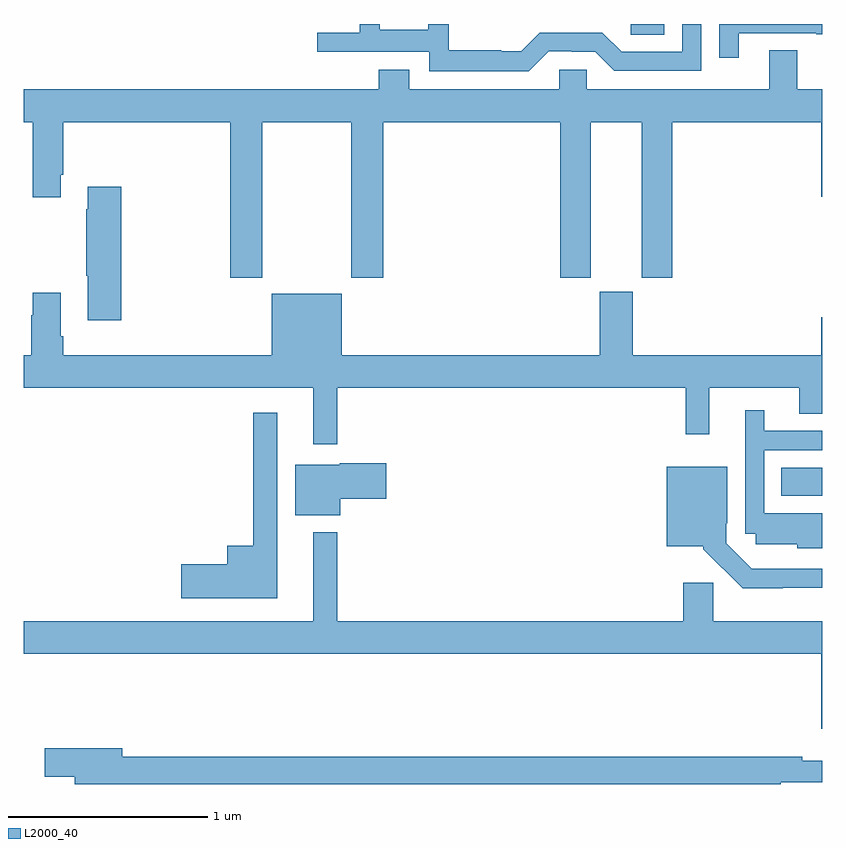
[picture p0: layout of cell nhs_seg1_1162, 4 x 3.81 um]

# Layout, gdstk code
import gdstk
lib = gdstk.Library(unit=1e-6, precision=1e-09)
def R(c, l, rs):  # rectangles x0, y0, x1, y1
    for r in rs: c.add(gdstk.rectangle(r[:2], r[2:], *l))
def P(c, l, *ps):  # polygons
    for p in ps: c.add(gdstk.Polygon(p, *l))
L2000_40 = (2000, 40)

nhs_seg1_1162 = lib.new_cell('nhs_seg1_1162')
R(nhs_seg1_1162, L2000_40, [(176.794,573.836,177,573.976), (176.04,576.145,176.208,576.199)])
P(nhs_seg1_1162, L2000_40, [(176.581,576.153),(176.971,576.153),(176.971,576.148),(177,576.148),(177,576.199),(176.485,576.199),(176.485,576.03),(176.581,576.03)],
  [(175.629,576.063),(175.745,576.063),(175.745,576.06),(175.863,576.06),(175.959,575.964),(176.394,575.964),(176.394,576.199),(176.298,576.199),(176.298,576.06),(175.995,576.06),(175.899,576.156),(175.584,576.156),(175.491,576.063),(175.391,576.063),(175.391,576.067),(175.128,576.067),(175.128,576.199),(175.027,576.199),(175.027,576.169),(174.783,576.169),(174.783,576.199),(174.684,576.199),(174.684,576.156),(174.471,576.156),(174.471,576.06),(175.032,576.06),(175.032,575.963),(175.529,575.963)],
  [(175.39,576.199),(175.245,576.199),(175.245,576.197),(175.388,576.197)],
  [(174.779,575.872),(173,575.872),(173,575.708),(173.045,575.708),(173.045,575.331),(173.185,575.331),(173.185,575.443),(173.198,575.443),(173.198,575.708),(174.035,575.708),(174.035,574.929),(174.195,574.929),(174.195,575.708),(174.64,575.708),(174.64,574.929),(174.8,574.929),(174.8,575.708),(175.688,575.708),(175.688,574.929),(175.84,574.929),(175.84,575.708),(176.096,575.708),(176.096,574.929),(176.249,574.929),(176.249,575.708),(176.996,575.708),(176.996,575.334),(177,575.334),(177,575.872),(176.875,575.872),(176.875,576.067),(176.735,576.067),(176.735,575.872),(175.821,575.872),(175.821,575.97),(175.683,575.97),(175.683,575.872),(174.931,575.872),(174.931,575.971),(174.779,575.971)],
  [(173.489,575.383),(173.321,575.383),(173.321,575.27),(173.314,575.27),(173.314,574.939),(173.321,574.939),(173.321,574.716),(173.489,574.716)],
  [(174.571,574.376),(176.317,574.376),(176.317,574.143),(176.435,574.143),(176.435,574.376),(176.885,574.376),(176.885,574.246),(177,574.246),(177,574.729),(176.996,574.729),(176.996,574.54),(176.05,574.54),(176.05,574.857),(175.886,574.857),(175.886,574.54),(174.592,574.54),(174.592,574.849),(174.242,574.849),(174.242,574.54),(173.198,574.54),(173.198,574.636),(173.185,574.636),(173.185,574.852),(173.045,574.852),(173.045,574.739),(173.038,574.739),(173.038,574.54),(173,574.54),(173,574.376),(174.449,574.376),(174.449,574.095),(174.571,574.095)],
  [(177,573.748),(176.709,573.748),(176.709,574.065),(177,574.065),(177,574.161),(176.71,574.161),(176.71,574.264),(176.613,574.264),(176.613,573.645),(176.667,573.645),(176.667,573.593),(176.874,573.593),(176.874,573.572),(177,573.572)],
  [(174.271,574.252),(174.15,574.252),(174.15,573.586),(174.02,573.586),(174.02,573.494),(173.79,573.494),(173.79,573.323),(174.271,573.323)],
  [(174.586,573.821),(174.817,573.821),(174.817,573.999),(174.582,573.999),(174.582,573.991),(174.359,573.991),(174.359,573.737),(174.586,573.737)],
  [(176.801,573.374),(177,573.374),(177,573.471),(176.749,573.471),(176.749,573.469),(176.648,573.469),(176.52,573.597),(176.52,573.697),(176.524,573.697),(176.524,573.982),(176.222,573.982),(176.222,573.584),(176.405,573.584),(176.405,573.569),(176.602,573.372),(176.801,573.372)],
  [(177,573.208),(176.453,573.208),(176.453,573.399),(176.303,573.399),(176.303,573.208),(174.571,573.208),(174.571,573.652),(174.449,573.652),(174.449,573.208),(173,573.208),(173,573.044),(176.996,573.044),(176.996,572.67),(177,572.67)],
  [(176.791,572.4),(177,572.4),(177,572.509),(176.9,572.509),(176.9,572.528),(173.494,572.528),(173.494,572.571),(173.106,572.571),(173.106,572.429),(173.255,572.429),(173.255,572.392),(176.791,572.392)])

lib.write_gds('nhs_seg1_1162.gds')
